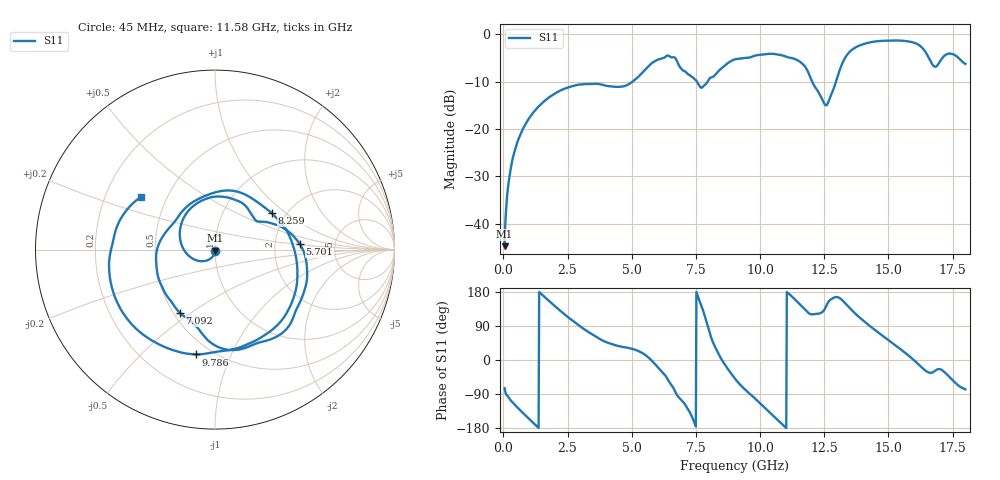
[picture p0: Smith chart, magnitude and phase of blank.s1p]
!Agilent Technologies,E8364A,US41440284,A.06.04.32
!Agilent E8364A: A.06.04.32
!Date: Monday, November 18, 2019 13:30:27
!Correction: S11(Full 1 Port(1))
!S1P File: Measurement: S11:
# Hz S  MA  R 50
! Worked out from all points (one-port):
!   801 points, 45 MHz to 18 GHz, reference 50 ohm
!   lowest |S11| = -44.8 dB at 45 MHz (marker M1), VSWR 1.01, Z = 50.2 - j0.559 ohm
!   |S11| at or under -10 dB: start of sweep to 5.03 GHz; 7.541 GHz to 7.954 GHz (413.7 MHz wide, 5.34 % of centre); 12.03 GHz to 12.96 GHz (930 MHz wide, 7.44 % of centre)
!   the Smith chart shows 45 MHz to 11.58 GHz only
!   S11 on the Smith chart (normalised r, x): 45 MHz: 1.00, -0.01; 5.701 GHz: 2.78, +0.21; 7.092 GHz: 0.54, -0.45; 8.259 GHz: 1.69, +0.80; 9.786 GHz: 0.41, -0.74; 11.58 GHz: 0.36, +0.28
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4.5e7  0.005786 -74.3
2.694375e8  0.03619 -105.4
6.285375e8  0.08357 -130.8
2.289375e9  0.2605 125.7
4.53375e9  0.2792 35.9
5.700825e9  0.474 3.6
6.306806e9  0.5773 -41.0
6.778125e9  0.51 -94.1
7.092338e9  0.4029 -119.2
7.563656e9  0.3085 170.6
7.967644e9  0.3208 88.8
8.259412e9  0.3759 32.7
9.0225e9  0.5446 -49.3
9.785588e9  0.5939 -100.5
1.057112e10  0.6194 -151.3
1.126688e10  0.5595 165.9
1.158109e10  0.5065 144.9
1.200752e10  0.325 120.5
1.256861e10  0.1776 141.2
1.303993e10  0.3729 165.4
1.351125e10  0.6619 135.7
1.400501e10  0.7846 104.8
1.454366e10  0.8444 75.7
1.575562e10  0.8436 13.4
1.640649e10  0.6741 -26.0
1.694514e10  0.485 -24.0
1.752868e10  0.6152 -55.1
1.8e10  0.4872 -77.4
